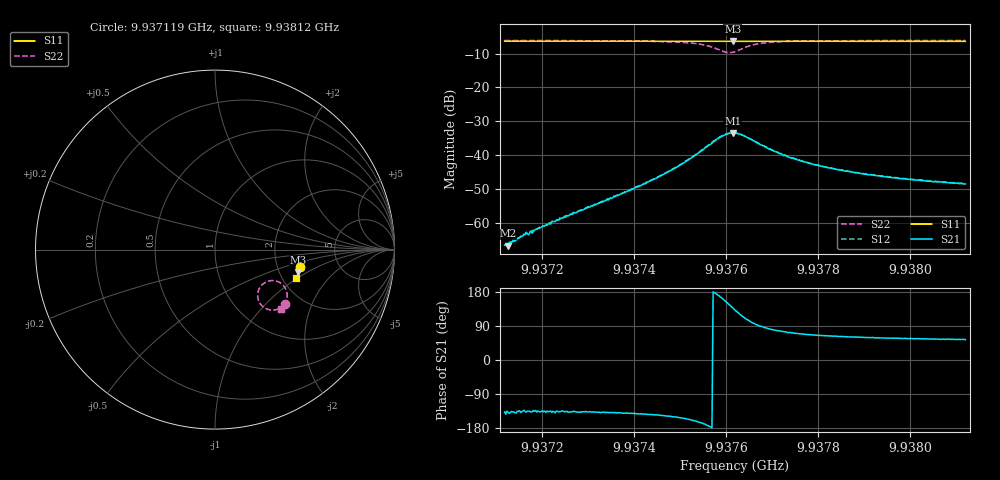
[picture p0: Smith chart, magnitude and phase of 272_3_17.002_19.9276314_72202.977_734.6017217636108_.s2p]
#  HZ  S  RI  R  50.00
! Rohde & Schwarz Vector Network Analyzer
! Rohde-Schwarz,ZNB20-2Port,1311601062101988,3.16
! Created: UTC 3/20/2024, 11:04:14 PM
! freq[Hz]  re:S11  im:S11  re:S21  im:S21  re:S12  im:S12  re:S22  im:S22
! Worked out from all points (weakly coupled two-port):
!   401 points, 9.937119 GHz to 9.93812 GHz, reference 50 ohm
!   highest |S21| = -33.49 dB at 9.937614 GHz (marker M1); lowest = -66.8 dB at 9.937126 GHz (marker M2)
!   lowest |S11| = -6.4 dB at 9.937614 GHz (marker M3), VSWR 2.84, Z = 126 - j41.6 ohm
!   |S11| at or under -10 dB: nowhere
!   |S22| runs from -9.7 to -6.1 dB; largest |S21 - S12| = 0.00096
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9.9371187e9  0.4748 -0.0953  -0.000339 -0.00032  -0.00034 -0.000295  0.3918 -0.3028
9.9371262e9  0.4747 -0.0957  -0.000341 -0.000306  -0.00036 -0.000327  0.3913 -0.3032
9.9371638e9  0.4738 -0.0983  -0.000497 -0.000461  -0.00049 -0.000454  0.3883 -0.3059
9.9371738e9  0.4738 -0.0991  -0.00052 -0.000511  -0.000546 -0.000472  0.3877 -0.3068
9.9371888e9  0.4735 -0.1001  -0.000596 -0.000546  -0.000588 -0.000549  0.3863 -0.308
9.9372264e9  0.4727 -0.1025  -0.000757 -0.000715  -0.000765 -0.000719  0.3831 -0.311
9.9372865e9  0.4714 -0.1067  -0.00112 -0.00105  -0.00115 -0.00103  0.3769 -0.3159
9.9373916e9  0.4692 -0.1137  -0.00233 -0.00191  -0.00243 -0.00192  0.3613 -0.3263
9.9374542e9  0.4678 -0.1181  -0.00394 -0.00271  -0.00407 -0.00268  0.3445 -0.3335
9.9375017e9  0.4666 -0.1213  -0.0064 -0.0033  -0.00659 -0.00325  0.3217 -0.337
9.9375543e9  0.4647 -0.1247  -0.0126 -0.00246  -0.0128 -0.00198  0.2723 -0.322
9.9375894e9  0.4632 -0.1263  -0.0181 0.00485  -0.0183 0.00548  0.2375 -0.2578
9.9376019e9  0.4628 -0.1265  -0.0179 0.00962  -0.0181 0.0104  0.2452 -0.2201
9.9376144e9  0.4627 -0.1268  -0.0157 0.0142  -0.0153 0.0148  0.2714 -0.1883
9.9376194e9  0.4628 -0.127  -0.014 0.0156  -0.0136 0.0163  0.2857 -0.1798
9.9376394e9  0.4631 -0.1278  -0.00708 0.0177  -0.00661 0.0181  0.3429 -0.1758
9.937672e9  0.4633 -0.1301  7.39e-05 0.0147  0.000153 0.0146  0.3906 -0.213
9.9377195e9  0.4624 -0.1337  0.00256 0.0101  0.00283 0.0101  0.4022 -0.2555
9.9377871e9  0.4611 -0.1385  0.00292 0.00677  0.00313 0.00676  0.3973 -0.2849
9.9378522e9  0.4596 -0.1428  0.00279 0.00524  0.00292 0.00523  0.3905 -0.2996
9.9379549e9  0.457 -0.1496  0.00249 0.00399  0.00262 0.00399  0.3815 -0.3139
9.9381201e9  0.4527 -0.1603  0.00222 0.003  0.00228 0.00302  0.3696 -0.3286
